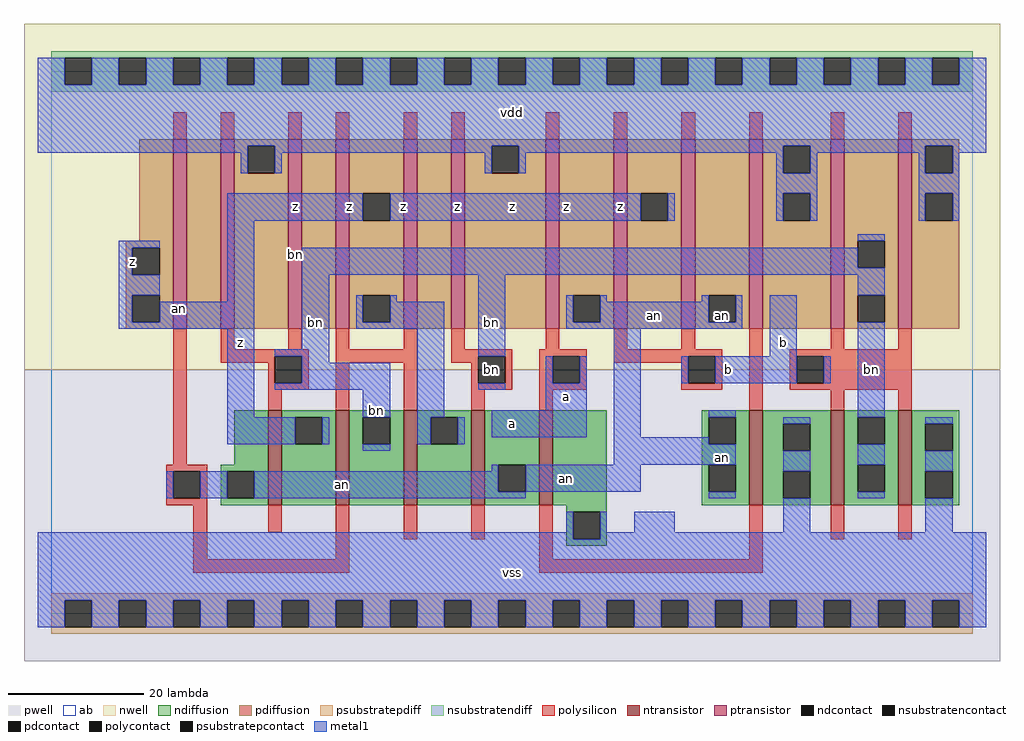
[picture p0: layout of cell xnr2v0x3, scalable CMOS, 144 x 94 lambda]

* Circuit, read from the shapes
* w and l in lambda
.subckt xnr2v0x3 a an b bn vdd vss z
M1 z bn an vss nfet w=14 l=2 m=2
M2 bn an z vss nfet w=14 l=2 m=2
M3 vss a an vss nfet w=14 l=2 m=2
M4 bn b vss vss nfet w=14 l=2 m=2
M5 n1 an z vdd pfet w=28 l=2
M6 vdd bn n1 vdd pfet w=28 l=2
M7 n2 bn vdd vdd pfet w=28 l=2
M8 z an n2 vdd pfet w=28 l=2
M9 n3 an z vdd pfet w=28 l=2
M10 vdd bn n3 vdd pfet w=28 l=2
M11 an a vdd vdd pfet w=28 l=2 m=2
M12 z b an vdd pfet w=28 l=2 m=2
M13 bn b vdd vdd pfet w=28 l=2 m=2
.ends

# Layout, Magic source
magic
tech scmos
<< ab >>
rect 0 0 136 80
<< pwell >>
rect -4 -7 140 36
<< nwell >>
rect -4 36 140 87
<< polysilicon >>
rect 18 70 20 74
rect 25 70 27 74
rect 35 70 37 74
rect 42 70 44 74
rect 52 70 54 74
rect 59 70 61 74
rect 73 70 75 74
rect 83 70 85 74
rect 93 70 95 74
rect 103 70 105 74
rect 115 70 117 74
rect 125 70 127 74
rect 18 22 20 42
rect 25 39 27 42
rect 35 39 37 42
rect 42 39 44 42
rect 52 39 54 42
rect 25 38 38 39
rect 25 37 33 38
rect 32 34 33 37
rect 37 34 38 38
rect 32 33 38 34
rect 42 37 54 39
rect 59 39 61 42
rect 73 39 75 42
rect 83 39 85 42
rect 93 39 95 42
rect 59 38 68 39
rect 59 37 63 38
rect 32 30 34 33
rect 42 30 44 37
rect 52 30 54 37
rect 62 34 63 37
rect 67 34 68 38
rect 62 33 68 34
rect 72 38 79 39
rect 72 34 74 38
rect 78 34 79 38
rect 83 38 99 39
rect 83 37 94 38
rect 72 33 79 34
rect 93 34 94 37
rect 98 34 99 38
rect 93 33 99 34
rect 62 30 64 33
rect 72 30 74 33
rect 103 30 105 42
rect 115 39 117 42
rect 125 39 127 42
rect 109 38 127 39
rect 109 34 110 38
rect 114 34 127 38
rect 109 33 127 34
rect 115 30 117 33
rect 125 30 127 33
rect 17 21 23 22
rect 17 17 18 21
rect 22 17 23 21
rect 17 16 23 17
rect 21 8 23 16
rect 32 12 34 16
rect 42 8 44 16
rect 52 11 54 16
rect 62 11 64 16
rect 21 6 44 8
rect 72 8 74 16
rect 103 8 105 16
rect 115 11 117 16
rect 125 11 127 16
rect 72 6 105 8
<< ndiffusion >>
rect 27 22 32 30
rect 25 21 32 22
rect 25 17 26 21
rect 30 17 32 21
rect 25 16 32 17
rect 34 29 42 30
rect 34 25 36 29
rect 40 25 42 29
rect 34 16 42 25
rect 44 29 52 30
rect 44 25 46 29
rect 50 25 52 29
rect 44 16 52 25
rect 54 29 62 30
rect 54 25 56 29
rect 60 25 62 29
rect 54 16 62 25
rect 64 22 72 30
rect 64 18 66 22
rect 70 18 72 22
rect 64 16 72 18
rect 74 16 82 30
rect 96 29 103 30
rect 96 25 97 29
rect 101 25 103 29
rect 96 22 103 25
rect 96 18 97 22
rect 101 18 103 22
rect 96 16 103 18
rect 105 28 115 30
rect 105 24 108 28
rect 112 24 115 28
rect 105 21 115 24
rect 105 17 108 21
rect 112 17 115 21
rect 105 16 115 17
rect 117 29 125 30
rect 117 25 119 29
rect 123 25 125 29
rect 117 22 125 25
rect 117 18 119 22
rect 123 18 125 22
rect 117 16 125 18
rect 127 28 134 30
rect 127 24 129 28
rect 133 24 134 28
rect 127 21 134 24
rect 127 17 129 21
rect 133 17 134 21
rect 127 16 134 17
rect 76 15 82 16
rect 76 11 77 15
rect 81 11 82 15
rect 76 10 82 11
<< pdiffusion >>
rect 13 55 18 70
rect 11 54 18 55
rect 11 50 12 54
rect 16 50 18 54
rect 11 47 18 50
rect 11 43 12 47
rect 16 43 18 47
rect 11 42 18 43
rect 20 42 25 70
rect 27 69 35 70
rect 27 65 29 69
rect 33 65 35 69
rect 27 42 35 65
rect 37 42 42 70
rect 44 62 52 70
rect 44 58 46 62
rect 50 58 52 62
rect 44 47 52 58
rect 44 43 46 47
rect 50 43 52 47
rect 44 42 52 43
rect 54 42 59 70
rect 61 69 73 70
rect 61 65 65 69
rect 69 65 73 69
rect 61 42 73 65
rect 75 47 83 70
rect 75 43 77 47
rect 81 43 83 47
rect 75 42 83 43
rect 85 62 93 70
rect 85 58 87 62
rect 91 58 93 62
rect 85 42 93 58
rect 95 47 103 70
rect 95 43 97 47
rect 101 43 103 47
rect 95 42 103 43
rect 105 69 115 70
rect 105 65 108 69
rect 112 65 115 69
rect 105 62 115 65
rect 105 58 108 62
rect 112 58 115 62
rect 105 42 115 58
rect 117 55 125 70
rect 117 51 119 55
rect 123 51 125 55
rect 117 47 125 51
rect 117 43 119 47
rect 123 43 125 47
rect 117 42 125 43
rect 127 69 134 70
rect 127 65 129 69
rect 133 65 134 69
rect 127 62 134 65
rect 127 58 129 62
rect 133 58 134 62
rect 127 42 134 58
<< metal1 >>
rect -2 78 2 82
rect 6 78 10 82
rect 14 78 18 82
rect 22 78 26 82
rect 30 78 34 82
rect 38 78 42 82
rect 46 78 50 82
rect 54 78 58 82
rect 62 78 66 82
rect 70 78 74 82
rect 78 78 82 82
rect 86 78 90 82
rect 94 78 98 82
rect 102 78 106 82
rect 110 78 114 82
rect 118 78 122 82
rect 126 78 130 82
rect 134 78 138 82
rect -2 69 138 78
rect -2 68 29 69
rect 28 65 29 68
rect 33 68 65 69
rect 33 65 34 68
rect 64 65 65 68
rect 69 68 108 69
rect 69 65 70 68
rect 107 65 108 68
rect 112 68 129 69
rect 112 65 113 68
rect 107 62 113 65
rect 26 58 46 62
rect 50 58 87 62
rect 91 58 92 62
rect 107 58 108 62
rect 112 58 113 62
rect 128 65 129 68
rect 133 68 138 69
rect 133 65 134 68
rect 128 62 134 65
rect 128 58 129 62
rect 133 58 134 62
rect 10 54 16 55
rect 10 50 12 54
rect 10 47 16 50
rect 10 43 12 47
rect 26 46 30 58
rect 119 55 123 56
rect 16 43 30 46
rect 10 42 30 43
rect 26 29 30 42
rect 37 51 119 54
rect 37 50 123 51
rect 37 39 41 50
rect 45 43 46 47
rect 50 46 51 47
rect 50 43 58 46
rect 45 42 58 43
rect 33 38 41 39
rect 37 37 41 38
rect 37 34 50 37
rect 33 33 50 34
rect 46 29 50 33
rect 26 25 36 29
rect 40 25 41 29
rect 54 29 58 42
rect 63 38 67 50
rect 119 47 123 50
rect 76 43 77 47
rect 81 46 82 47
rect 96 46 97 47
rect 81 43 97 46
rect 101 43 102 47
rect 76 42 102 43
rect 63 33 67 34
rect 73 34 74 38
rect 78 34 79 38
rect 73 30 79 34
rect 54 25 56 29
rect 60 25 61 29
rect 65 26 79 30
rect 83 26 87 42
rect 106 38 110 47
rect 93 34 94 38
rect 98 34 110 38
rect 114 34 115 38
rect 97 29 101 30
rect 119 29 123 43
rect 83 25 97 26
rect 46 24 50 25
rect 83 22 101 25
rect 65 21 66 22
rect 17 17 18 21
rect 22 17 26 21
rect 30 18 66 21
rect 70 18 87 22
rect 30 17 70 18
rect 97 17 101 18
rect 108 28 112 29
rect 108 21 112 24
rect 119 22 123 25
rect 119 17 123 18
rect 129 28 133 29
rect 129 21 133 24
rect 76 12 77 15
rect -2 11 77 12
rect 81 12 82 15
rect 86 12 92 15
rect 108 12 112 17
rect 129 12 133 17
rect 81 11 138 12
rect -2 2 138 11
rect -2 -2 2 2
rect 6 -2 10 2
rect 14 -2 18 2
rect 22 -2 26 2
rect 30 -2 34 2
rect 38 -2 42 2
rect 46 -2 50 2
rect 54 -2 58 2
rect 62 -2 66 2
rect 70 -2 74 2
rect 78 -2 82 2
rect 86 -2 90 2
rect 94 -2 98 2
rect 102 -2 106 2
rect 110 -2 114 2
rect 118 -2 122 2
rect 126 -2 130 2
rect 134 -2 138 2
<< ntransistor >>
rect 32 16 34 30
rect 42 16 44 30
rect 52 16 54 30
rect 62 16 64 30
rect 72 16 74 30
rect 103 16 105 30
rect 115 16 117 30
rect 125 16 127 30
<< ptransistor >>
rect 18 42 20 70
rect 25 42 27 70
rect 35 42 37 70
rect 42 42 44 70
rect 52 42 54 70
rect 59 42 61 70
rect 73 42 75 70
rect 83 42 85 70
rect 93 42 95 70
rect 103 42 105 70
rect 115 42 117 70
rect 125 42 127 70
<< polycontact >>
rect 33 34 37 38
rect 63 34 67 38
rect 74 34 78 38
rect 94 34 98 38
rect 110 34 114 38
rect 18 17 22 21
<< ndcontact >>
rect 26 17 30 21
rect 36 25 40 29
rect 46 25 50 29
rect 56 25 60 29
rect 66 18 70 22
rect 97 25 101 29
rect 97 18 101 22
rect 108 24 112 28
rect 108 17 112 21
rect 119 25 123 29
rect 119 18 123 22
rect 129 24 133 28
rect 129 17 133 21
rect 77 11 81 15
<< pdcontact >>
rect 12 50 16 54
rect 12 43 16 47
rect 29 65 33 69
rect 46 58 50 62
rect 46 43 50 47
rect 65 65 69 69
rect 77 43 81 47
rect 87 58 91 62
rect 97 43 101 47
rect 108 65 112 69
rect 108 58 112 62
rect 119 51 123 55
rect 119 43 123 47
rect 129 65 133 69
rect 129 58 133 62
<< psubstratepcontact >>
rect 2 -2 6 2
rect 10 -2 14 2
rect 18 -2 22 2
rect 26 -2 30 2
rect 34 -2 38 2
rect 42 -2 46 2
rect 50 -2 54 2
rect 58 -2 62 2
rect 66 -2 70 2
rect 74 -2 78 2
rect 82 -2 86 2
rect 90 -2 94 2
rect 98 -2 102 2
rect 106 -2 110 2
rect 114 -2 118 2
rect 122 -2 126 2
rect 130 -2 134 2
<< nsubstratencontact >>
rect 2 78 6 82
rect 10 78 14 82
rect 18 78 22 82
rect 26 78 30 82
rect 34 78 38 82
rect 42 78 46 82
rect 50 78 54 82
rect 58 78 62 82
rect 66 78 70 82
rect 74 78 78 82
rect 82 78 86 82
rect 90 78 94 82
rect 98 78 102 82
rect 106 78 110 82
rect 114 78 118 82
rect 122 78 126 82
rect 130 78 134 82
<< psubstratepdiff >>
rect 0 2 136 3
rect 0 -2 2 2
rect 6 -2 10 2
rect 14 -2 18 2
rect 22 -2 26 2
rect 30 -2 34 2
rect 38 -2 42 2
rect 46 -2 50 2
rect 54 -2 58 2
rect 62 -2 66 2
rect 70 -2 74 2
rect 78 -2 82 2
rect 86 -2 90 2
rect 94 -2 98 2
rect 102 -2 106 2
rect 110 -2 114 2
rect 118 -2 122 2
rect 126 -2 130 2
rect 134 -2 136 2
rect 0 -3 136 -2
<< nsubstratendiff >>
rect 0 82 136 83
rect 0 78 2 82
rect 6 78 10 82
rect 14 78 18 82
rect 22 78 26 82
rect 30 78 34 82
rect 38 78 42 82
rect 46 78 50 82
rect 54 78 58 82
rect 62 78 66 82
rect 70 78 74 82
rect 78 78 82 82
rect 86 78 90 82
rect 94 78 98 82
rect 102 78 106 82
rect 110 78 114 82
rect 118 78 122 82
rect 126 78 130 82
rect 134 78 136 82
rect 0 77 136 78
<< labels >>
rlabel ptransistor 19 45 19 45 6 an
rlabel ptransistor 36 53 36 53 6 bn
rlabel polycontact 65 36 65 36 6 bn
rlabel metal1 20 44 20 44 6 z
rlabel metal1 12 52 12 52 6 z
rlabel metal1 48 30 48 30 6 bn
rlabel metal1 28 40 28 40 6 z
rlabel metal1 39 43 39 43 6 bn
rlabel metal1 36 60 36 60 6 z
rlabel metal1 44 60 44 60 6 z
rlabel metal1 68 6 68 6 6 vss
rlabel metal1 43 19 43 19 6 an
rlabel metal1 68 28 68 28 6 a
rlabel metal1 76 32 76 32 6 a
rlabel metal1 65 43 65 43 6 bn
rlabel metal1 52 60 52 60 6 z
rlabel metal1 68 60 68 60 6 z
rlabel metal1 76 60 76 60 6 z
rlabel metal1 60 60 60 60 6 z
rlabel metal1 68 74 68 74 6 vdd
rlabel metal1 76 20 76 20 6 an
rlabel metal1 99 23 99 23 6 an
rlabel metal1 89 44 89 44 6 an
rlabel pdcontact 99 44 99 44 6 an
rlabel metal1 108 40 108 40 6 b
rlabel metal1 100 36 100 36 6 b
rlabel metal1 84 60 84 60 6 z
rlabel metal1 121 36 121 36 6 bn
<< end >>
